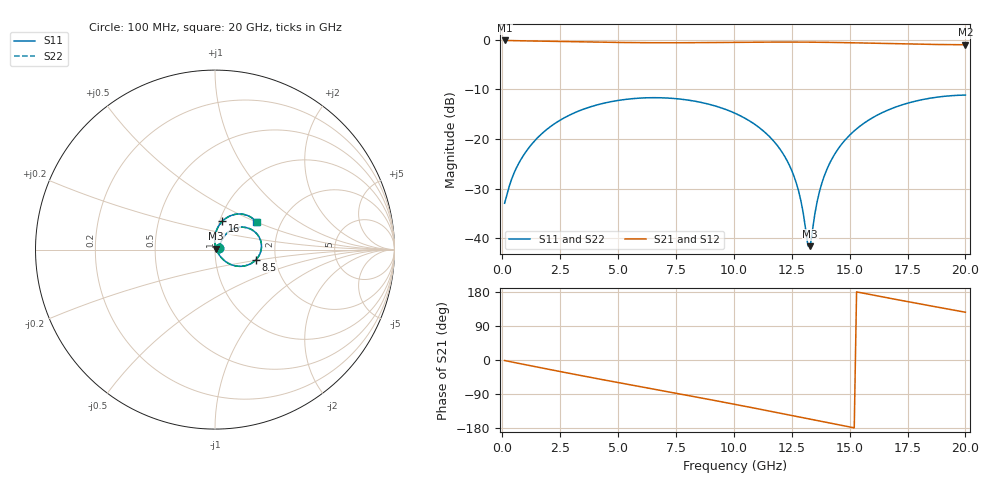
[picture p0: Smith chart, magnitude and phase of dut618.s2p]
! Touchstone file exported from HFSS 2026.1.0
!  File:  C:/ffzhzh/LocalFiles/Ansys_Project_Files/temp_train_TSV_RDL_618_1783124450_50312.aedt
!  Generated:  08:28:54 AM Jul  4, 2026
!  Design:  TSV_RDL
!  Project:  temp_train_TSV_RDL_618_1783124450_50312
! Variables:
!  h_bsmrdl = 3.06um
!  h_ox = 20um
!  h_rdl = 5um
!  h_sub = 50.85um
!  h_tmrdl = 3.73um
!  h_tsv = 50.85um
!  h_via = 3um
!  l_bsmrdl = 752.04um
!  l_sub = 3962.31um
!  l_tmrdl = 297.59um
!  m_sub = 200um
!  pitch = 34.17um
!  r_tsv = 11.09um
!  s_tmrdl = 10um
!  w_bsmrdl = 27.6um
!  w_sub = 500um
!  w_tmrdl = 11.01um
!  x_tsv_center1 = 303.095um
!  x_tsv_center2 = 1082.735um
!  x_tsv_center3 = 1391.335um
!  x_tsv_center4 = 2170.975um
!  x_tsv_center5 = 2479.575um
!  x_tsv_center6 = 3259.215um
# GHz S MA R 50.000000
! Terminal data exported
! Port[1] = TM_RDL1_1_T1
! Port[2] = TM_RDL5_1_T1
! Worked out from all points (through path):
!   200 points, 100 MHz to 20 GHz, reference 50 ohm
!   highest |S21| = -0.18 dB at 100 MHz (marker M1); lowest = -1.0 dB at 20 GHz (marker M2)
!   group delay of S21, straight-line fit = 32.5 ps
!   lowest |S11| = -41.6 dB at 13.3 GHz (marker M3), VSWR 1.02, Z = 50.6 + j0.557 ohm
!   |S11| at or under -10 dB: start of sweep to end of sweep
!   |S22| runs from -41.4 to -11.2 dB; largest |S21 - S12| = 3.1e-14
!   S11 on the Smith chart (normalised r, x): 100 MHz: 1.04, +0.02; 8.5 GHz: 1.58, -0.19; 16 GHz: 1.03, +0.34; 20 GHz: 1.50, +0.49
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0.1  0.02256 21.1  0.9791 -1.4  0.9791 -1.4  0.02256 21.1
! Gamma 0 0 0 0
! Port Impedance 50 0 50 0
0.6  0.05063 51.0  0.9728 -7.6  0.9728 -7.6  0.05063 51.0
1.3  0.09026 55.2  0.9673 -16.1  0.9673 -16.1  0.09026 55.2
2.3  0.1446 49.8  0.9589 -28.1  0.9589 -28.1  0.1446 49.8
3.5  0.199 38.8  0.9477 -42.3  0.9477 -42.3  0.199 38.8
5.1  0.246 22.4  0.9347 -60.6  0.9347 -60.6  0.246 22.4
6.8  0.2598 4.4  0.9283 -79.8  0.9283 -79.8  0.2598 4.5
8.5  0.2354 -13.8  0.9308 -99.1  0.9308 -99.1  0.2354 -13.8
10.1  0.1792 -31.1  0.9378 -117.7  0.9378 -117.7  0.1792 -31.1
11.3  0.119 -43.6  0.9424 -131.9  0.9424 -131.9  0.119 -43.6
12.2  0.06651 -51.2  0.9436 -142.8  0.9436 -142.8  0.06654 -51.1
12.8  0.02971 -49.8  0.9429 -150.1  0.9429 -150.1  0.02976 -49.6
13  0.01778 -41.4  0.9424 -152.5  0.9424 -152.5  0.01785 -41.1
13.2  0.008397 -2.4  0.9417 -154.9  0.9417 -154.9  0.008534 -2.1
13.3  0.008345 41.2  0.9413 -156.1  0.9413 -156.1  0.008477 40.8
13.4  0.01226 68.9  0.9409 -157.4  0.9409 -157.4  0.01235 68.4
13.7  0.02968 89.4  0.9393 -161.0  0.9393 -161.0  0.02971 89.1
14.2  0.06072 91.4  0.936 -167.1  0.936 -167.1  0.06073 91.2
15  0.1091 85.3  0.9292 -176.7  0.9292 -176.7  0.1091 85.2
16  0.164 75.3  0.9187 171.5  0.9187 171.5  0.164 75.2
16.7  0.1972 67.9  0.9109 163.3  0.9109 163.3  0.1972 67.8
20  0.2763 33.2  0.8866 126.1  0.8866 126.1  0.2763 33.1
